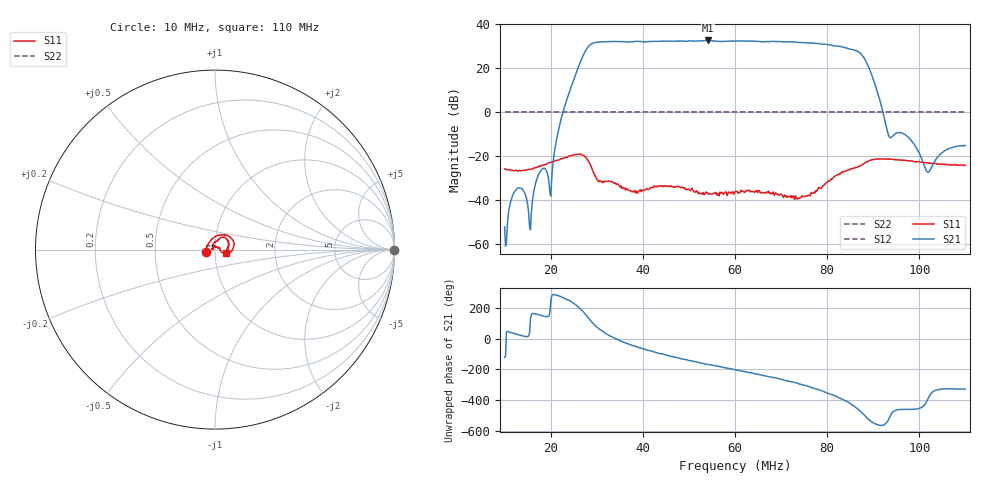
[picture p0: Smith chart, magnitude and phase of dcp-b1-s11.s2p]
! Anritsu VNA Master:  Model: MS2034B/10/19/501
! SN:  1337062
! /bd0/ovro-jan-2016/dcp-b1-s11.s2p
! Existing Calibration Information:
! TYPE:  Current Settings,  Active Cal Settings
! TIME:  01/09/2016 05:46:23 PM,  01/09/2016 12:40:35 PM
! INTERNAL TEMP:  41.8 C,  41.8 C
! # POINTS:  500,  500
! START FREQ:  10.000 MHz,  10.000 MHz
! STOP FREQ:  110.000 MHz,  110.000 MHz
! SOURCE POWER:  Low,  Low
! IFBW:  100 Hz,  100 Hz
! AVG FACTOR:  3 ,  3
! REF PLANE 1:  2.2245 m,  2.2245 m
! REF PLANE 2:  0 mm,  0 mm
! CAL TYPE:  1P2P S11,S21,  1P2P S11,S21
! CAL METHOD:  SOLT,  SOLT
! CAL LINE TYPE:  Coax,  Coax
! DUT PORT 1:  K-Conn(M),  K-Conn(M)
! DUT PORT 2:  N-Conn(M),  N-Conn(M)
! CAL STATUS:  OK: Accuracy High,  --
# GHZ S DB R 50.0
! FREQ.GHZ  S11DB  S11A  S21DB  S21A  S12DB  S12A  S22DB  S22A
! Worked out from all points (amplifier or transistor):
!   500 points, 10 MHz to 110 MHz, reference 50 ohm
!   highest |S21| = 32.7 dB at 54.09 MHz (marker M1)
!   |S21| within 3 dB of that: 28.1 MHz to 83.46 MHz (55.37 MHz wide, 99.3 % of centre)
!   unconditionally stable (mu >= 1): nowhere
!   at 26.63 MHz: K = 7.90, MSG = 11.9 dB, |S12| = 0.0 dB
!   at 60.1 MHz: K = 20.71, MSG = 16.2 dB, |S12| = 0.0 dB
!   at 110 MHz: K = 0.05, MSG = -7.5 dB, |S12| = 0.0 dB
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0.01  -25.73 -165.3  -52.04 -123.2  0.00 0.0  0.00 0.0
0.02362725  -20.47 55.6  6.68 -107.8  0.00 0.0  0.00 0.0
0.02683367  -19.33 13.5  24.90 -178.1  0.00 0.0  0.00 0.0
0.02823647  -22.22 -15.0  30.02 132.1  0.00 0.0  0.00 0.0
0.02963928  -28.69 -19.1  31.71 84.6  0.00 0.0  0.00 0.0
0.03164329  -31.65 16.7  32.10 39.4  0.00 0.0  0.00 0.0
0.03384769  -32.22 24.0  32.17 3.1  0.00 0.0  0.00 0.0
0.03845691  -36.58 71.6  32.27 -51.9  0.00 0.0  0.00 0.0
0.04346693  -33.49 101.9  32.28 -96.7  0.00 0.0  0.00 0.0
0.04847695  -34.04 109.6  32.41 -133.1  0.00 0.0  0.00 0.0
0.05408818  -36.65 145.1  32.66 -169.1  0.00 0.0  0.00 0.0
0.0601002  -35.71 171.6  32.35 155.9  0.00 0.0  0.00 0.0
0.06951904  -37.67 163.4  32.20 98.4  0.00 0.0  0.00 0.0
0.07292585  -39.56 157.3  31.93 73.9  0.00 0.0  0.00 0.0
0.07673347  -36.70 141.2  31.43 39.3  0.00 0.0  0.00 0.0
0.08074148  -30.79 109.4  30.58 -3.0  0.00 0.0  0.00 0.0
0.0853507  -25.68 74.5  28.55 -70.3  0.00 0.0  0.00 0.0
0.08655311  -24.93 72.1  27.78 -97.7  0.00 0.0  0.00 0.0
0.08795591  -23.31 66.9  24.91 -136.8  0.00 0.0  0.00 0.0
0.08975952  -21.48 54.9  16.44 175.0  0.00 0.0  0.00 0.0
0.09336673  -21.11 33.6  -10.64 -166.0  0.00 0.0  0.00 0.0
0.11  -24.03 -17.2  -15.09 29.8  0.00 0.0  0.00 0.0
